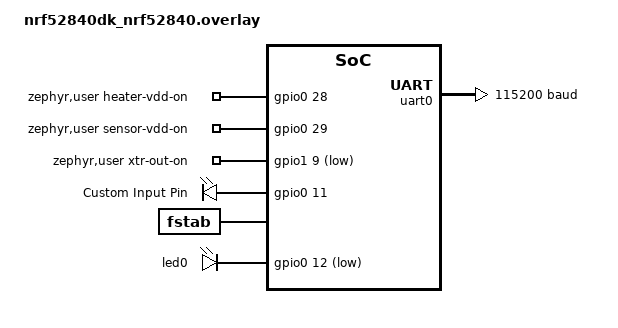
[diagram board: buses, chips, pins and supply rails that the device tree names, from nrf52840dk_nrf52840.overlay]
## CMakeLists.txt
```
# SPDX-License-Identifier: Apache-2.0

cmake_minimum_required(VERSION 3.20.0)
find_package(Zephyr REQUIRED HINTS $ENV{ZEPHYR_BASE})
project(TESTBD)

target_sources(app PRIVATE src/main.c src/ADC.c src/PC.c src/FIFO.c src/BT.c src/DAC.c src/BD_DEF.c src/fs_transfer.c)
```

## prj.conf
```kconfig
CONFIG_GPIO=y
CONFIG_I2C=y
CONFIG_SPI=y
CONFIG_SERIAL=y
CONFIG_UART_ASYNC_API=y
CONFIG_UART_NRFX=y

CONFIG_CBPRINTF_FP_SUPPORT=y

# ADD BLUETOOTH SUPPORT
CONFIG_BT=y
# CONFIG_BT_GATT_CLIENT=y
CONFIG_BT_PERIPHERAL=y
CONFIG_BT_DEVICE_NAME="HydroB/D"

CONFIG_BT_L2CAP_TX_MTU=247

CONFIG_BT_BUF_ACL_RX_SIZE=255
CONFIG_BT_BUF_ACL_TX_SIZE=251

# Enable using File System
CONFIG_FILE_SYSTEM=y
# Enable LittleFS for internal Flash File System
CONFIG_FILE_SYSTEM_LITTLEFS=y
# Enable FS in Flash memory
CONFIG_FS_LITTLEFS_FMP_DEV=y

# Enable Editing Flash area in code level
# Need to configure because we will use remain Flash space as FS
CONFIG_FLASH=y
CONFIG_FLASH_MAP=y

# !!ESSENTIAL!!
# Mounting LittleFS, requires large stack size (lots of function call, lots of local variables used while mounting little fs)
CONFIG_MAIN_STACK_SIZE=4096

#CONFIG_NEWLIB_LIBC_FLOAT_PRINTF=y

# --DUMMY--
#CONFIG_BOOTLOADER_MCUBOOT=n

CONFIG_CLOCK_CONTROL_NRF_K32SRC_RC=y
CONFIG_CLOCK_CONTROL_NRF_K32SRC_500PPM=y
#CONFIG_CLOCK_CONTROL_NRF_K32SRC_RC_CALIBRATION=y
#CONFIG_CLOCK_CONTROL_NRF_CALIBRATION_LF_ALWAYS_ON=y
```

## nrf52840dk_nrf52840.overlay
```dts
// To get started, press Ctrl+Space to bring up the completion menu and view the available nodes.

// You can also use the buttons in the sidebar to perform actions on nodes.
// Actions currently available include:

// * Enabling / disabling the node
// * Adding the bus to a bus
// * Removing the node
// * Connecting ADC channels

// For more help, browse the DeviceTree documentation at https://docs.zephyrproject.org/latest/guides/dts/index.html
// You can also visit the nRF DeviceTree extension documentation at https://docs.nordicsemi.com/bundle/nrf-connect-vscode/page/guides/ncs_configure_app.html#devicetree-support-in-the-extension
&led0 {
	gpios = <&gpio0 12 GPIO_ACTIVE_LOW>;
};

&led1 {
	status = "disabled";
};

&led2 {
	status = "disabled";
};

&led3 {
	status = "disabled";
};

&button0 {
	status = "disabled";
};

&button1 {
	status = "disabled";
};

&button2 {
	status = "disabled";
};

&button3 {
	status = "disabled";
};

&pwm0 {
	status = "disabled";
};

&uart0_default {
	group1 {
		psels = <NRF_PSEL(UART_RTS, 0, 5)>, <NRF_PSEL(UART_TX, 0, 7)>;
	};

	group2 {
		psels = <NRF_PSEL(UART_CTS, 0, 6)>, <NRF_PSEL(UART_RX, 0, 8)>;
	};
};

&i2c0_default {
	group1 {
		psels = <NRF_PSEL(TWIM_SCL, 0, 14)>, <NRF_PSEL(TWIM_SDA, 0, 13)>;
	};
};

&spi3 {
	cs-gpios = <&gpio0 0 GPIO_ACTIVE_LOW>;
};

&spi3_default {
	group1 {
		psels = <NRF_PSEL(SPIM_MISO, 1, 8)>, <NRF_PSEL(SPIM_MOSI, 0, 4)>,
			<NRF_PSEL(SPIM_SCK, 0, 1)>;
	};
};

/ {
	zephyr,user {
	    heater-vdd-on-gpios = <&gpio0 28 GPIO_ACTIVE_HIGH>;
            sensor-vdd-on-gpios = <&gpio0 29 GPIO_ACTIVE_HIGH>;
	    xtr-out-on-gpios = <&gpio1 9 GPIO_ACTIVE_LOW>;
        };

	my_inputs {
		compatible = "gpio-leds";
		my_input_pin: input_pin {
		gpios = <&gpio0 11 GPIO_ACTIVE_HIGH>;
		label = "Custom Input Pin";
		};
	};

	aliases {
		myinput = &my_input_pin;
	};

	fstab {
		compatible = "zephyr,fstab";

		lfs1: lfs1 {
			compatible = "zephyr,fstab,littlefs";
			mount-point = "/lfs1";
			partition = <&storage_partition>;
			// Enable automount cause system halt (mount fail)
			// maybe because in boot time, there is no file system.
			// so we should mount manually in source code
			automount;
			// read-size = <4>;
			// prog-size = <4>;
			// cache-size = <256>;
			// lookahead-size = <32>;
			// block-cycles = <512>;
			// sample uses settings below
			read-size = <16>;
			prog-size = <16>;
			cache-size = <64>;
			lookahead-size = <16>;
			block-cycles = <512>;
		};
	};
};

&uart0 {
	current-speed = <115200>;
};
```

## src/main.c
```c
/*
 * Copyright (c) 2016 Intel Corporation
 *
 * SPDX-License-Identifier: Apache-2.0
 */

#include <stdio.h>
#include <string.h>
#include <zephyr/kernel.h>
#include <zephyr/drivers/gpio.h>

#include <zephyr/device.h>
#include <zephyr/fs/fs.h>
#include <zephyr/fs/littlefs.h>
#include <zephyr/storage/flash_map.h>

#include "BD_DEF.h"
#include "ADC.h"
#include "DAC.h"
#include "PC.h"
#include "BT.h"
#include "COMMON_SEM.h"

/* 1000 msec = 1 sec */
#define SLEEP_TIME_MS   100

/* Devicetree node identifiers */
#define LED0_NODE DT_ALIAS(led0)

/* Use dt node and declare entry ∵ Using automount in device tree */
#define PARTITION_NODE DT_NODELABEL(lfs1)
FS_FSTAB_DECLARE_ENTRY(PARTITION_NODE);

// mode 0 = run mode (전원 인가 시 바로 동작)
// mode 1 = test mode (UART 값 수신 시 동작)
#define RUN_MODE 0

struct fs_mount_t *mountpoint = &FS_FSTAB_ENTRY(PARTITION_NODE);

/*
 * A build error on this line means your board is unsupported.
 * See the sample documentation for information on how to fix this.
 */

static const struct gpio_dt_spec led0 = GPIO_DT_SPEC_GET(LED0_NODE, gpios);

// buffer to receive data from ADC
uint8_t REC_DAT_TMP[3];
uint8_t GET_DAT_TMP[3];
uint8_t REC_REG_BUF_1[1];

// Buffer to send data to PC
uint8_t STRT_BUF[5] = {0x00, 0x00, 0x00, 0x00, 0xAA};
uint8_t SND_DAT_BUF[28];

K_MSGQ_DEFINE(adc_queue, sizeof(REC_DAT_TMP), 32, 4);

K_SEM_DEFINE(rec_semaphore, 0, 1);
K_SEM_DEFINE(fs_sem, 0, 1);

// Thread Resoures For ADC Test
K_SEM_DEFINE(adc_loop_semaphore, 0, 1);
K_THREAD_STACK_DEFINE(adc_loop_stack, 1024);
struct k_thread adc_loop_thread;

K_THREAD_STACK_DEFINE(adc_send_stack, 1024);
struct k_thread adc_send_thread;

// Thread Resources For Bluetooth Notify
K_SEM_DEFINE(bt_loop_semaphore, 0, 1);
K_THREAD_STACK_DEFINE(bt_loop_stack, 1024);
struct k_thread bt_loop_thread;

K_THREAD_STACK_DEFINE(bt_send_stack, 1024);
struct k_thread bt_send_thread;

char fs_info_send[4096];

int file_state = 0;
struct fs_file_t file;
int fx_pos = 0;
int fx_len = 0;

static void lsdir(const char *path)
{
	int res;
	struct fs_dir_t dirp;
	static struct fs_dirent entry;

	memset(fs_info_send, 0, sizeof(fs_info_send));

	fs_dir_t_init(&dirp);

	/* Verify fs_opendir() */
	res = fs_opendir(&dirp, path);
	if (res) {
		strcpy(fs_info_send, "ERROR OPENING DIR");
	}

	strcpy(fs_info_send, path);
	for (;;) {
		/* Verify fs_readdir() */
		res = fs_readdir(&dirp, &entry);

		/* entry.name[0] == 0 means end-of-dir */
		if (res || entry.name[0] == 0) {
			if (res < 0) {
				strcpy(fs_info_send, "ERROR READING DIR");
			}
			break;
		}

		char tmp[128];
		if (entry.type == FS_DIR_ENTRY_DIR) {
			
			snprintf(tmp, sizeof(tmp), "\n[DIR] %s", entry.name);
			strcat(fs_info_send, tmp);
		} else {
			snprintf(tmp, sizeof(tmp), "\n[FILE] %s (size = %zu)", entry.name, entry.size);
			strcat(fs_info_send, tmp);
		}
	}

	strcat(fs_info_send, "\nType \"add\", \"mod\", \"del\", \"ext\", \"ls\", \"seek\" And Press Enter");

	/* Verify fs_closedir() */
	fs_closedir(&dirp);
}

void create_file(char *fname) {
	struct fs_file_t f;
	int rc, ret;

	memset(fs_info_send, 0, sizeof(fs_info_send));

	fs_file_t_init(&f);

	rc = fs_open(&f, fname, FS_O_CREATE | FS_O_RDWR);
	if (rc < 0) {
		snprintf(fs_info_send, sizeof(fs_info_send), "FAIL to open file %s: %d\n", fname, rc);
	}

	snprintf(fs_info_send, sizeof(fs_info_send), "file opened %s\n", fname);

	fs_close(&f);
}

int open_file(struct fs_file_t *f, char* fname) {
	int rc;

	memset(fs_info_send, 0, sizeof(fs_info_send));

	fs_file_t_init(f);

	rc = fs_open(f, fname, FS_O_RDWR);
	if (rc < 0) {
		snprintf(fs_info_send, sizeof(fs_info_send), "FAIL to open file %s: %d\n", fname, rc);
		return rc;
	}

	snprintf(fs_info_send, sizeof(fs_info_send), "opened file %s, enter new data or file name to copy:\n", fname);
	return rc;
}

void write_and_close_file(struct fs_file_t *f, char* data) {
	int rc;
	size_t len = strlen(data);

	memset(fs_info_send, 0, sizeof(fs_info_send));

	rc = fs_seek(f, 0, FS_SEEK_SET);
	if (rc < 0) {
		snprintf(fs_info_send, sizeof(fs_info_send), "FAIL to seek: %d\n", rc);
		rc = fs_close(f);
		return;
	}

	rc = fs_write(f, data, strlen(data));
	if (rc < 0) {
		snprintf(fs_info_send, sizeof(fs_info_send), "FAIL to write to file: %d\n", rc);
		rc = fs_close(f);
		return;
	}
	snprintf(fs_info_send, sizeof(fs_info_send), "%d bytes successfully write to the file\n", rc);

	rc = fs_truncate(f, (off_t)len);
    if (rc < 0) {
        snprintf(fs_info_send, sizeof(fs_info_send), "FAIL to truncate: %d\n", rc);
		rc = fs_close(f);
		return;
    }

    fs_close(f);
}

void seek_file(char* fname) {
	struct fs_file_t f;
	int rc;

	fs_file_t_init(&f);

	memset(fs_info_send, 0, sizeof(fs_info_send));

	rc = fs_open(&f, fname, FS_O_READ);
	if (rc < 0) {
		snprintf(fs_info_send, sizeof(fs_info_send), "FAIL to open file %s: %d\n", fname, rc);
	}

	rc = fs_read(&f, &fs_info_send, sizeof(fs_info_send));
	if (rc < 0) {
		snprintf(fs_info_send, sizeof(fs_info_send), "FAIL to read file %s: %d\n", fname, rc);
	}

    fs_close(&f);
}

void delete_file(char* fname) {
	int rc;

	memset(fs_info_send, 0, sizeof(fs_info_send));

	rc = fs_unlink(fname);

	if (rc < 0) {
		snprintf(fs_info_send, sizeof(fs_info_send), "FAIL to delete file %s: %d\n", fname, rc);
	}

	snprintf(fs_info_send, sizeof(fs_info_send), "file deleted %s\n", fname);

	return 0;
}

static void init_file_create(void)
{
    struct fs_file_t f;
    char path[128];
    char buf[64];

	// min_max
    snprintf(path, sizeof(path), "%s/min_max", mountpoint->mnt_point);
	snprintf(buf, sizeof(buf), "0 8388608");

    fs_file_t_init(&f);

    if (fs_open(&f, path, FS_O_READ) < 0) {
		create_file(path);
		open_file(&f, path);
		write_and_close_file(&f, buf);
    }

	fs_close(&f);

	// table
	snprintf(path, sizeof(path), "%s/table", mountpoint->mnt_point);
	snprintf(buf, sizeof(buf), "1 1 2 2 3 3 4 4 5 5 6 6 7 7 8 8 9 9 10 10");

    fs_file_t_init(&f);

    if (fs_open(&f, path, FS_O_READ) < 0) {
		create_file(path);
		open_file(&f, path);
		write_and_close_file(&f, buf);
    }

	fs_close(&f);
}

static void load_min_max_calib(void)
{
    struct fs_file_t f;
    char path[128];
    char buf[64];
    char extra;
    int new_min;
    int new_max;

    snprintf(path, sizeof(path), "%s/min_max",
             mountpoint->mnt_point);

    fs_file_t_init(&f);

    if (fs_open(&f, path, FS_O_READ) < 0) {
        return;
    }

    ssize_t len = fs_read(&f, buf, sizeof(buf) - 1);
    fs_close(&f);

    if (len <= 0 || len >= (ssize_t)(sizeof(buf) - 1)) {
        return;
    }

    buf[len] = '\0';

    if (sscanf(buf, "%d %d %c",
               &new_min, &new_max, &extra) != 2) {
        return;
    }

    if (new_max <= new_min) {
        return;
    }

    k_sched_lock();
    min_calib = new_min;
    max_calib = new_max;
    k_sched_unlock();
}

// reset pin and initialize bluetooth
int init_set() {
	int ret;

	if (!gpio_is_ready_dt(&led0)) return 0; 

	ret = gpio_pin_configure_dt(&led0, GPIO_OUTPUT_ACTIVE);
	if (ret < 0) return 0;

	// Bluetooth Initialization
	ret = hydro_bt_enable();
	if (ret < 0) {
		printf("Failed to Enable Bluetooth\n");
		return 0;
	}

	// GATT Callbacks Enable
	enable_gatt_callbacks();

	// BlueTooth Advertising Start
	ret = hydro_adv_start();
	if (ret < 0) {
		printf("Failed to Start Advertising\n");
		return 0;
	}
}

int adc_loop_thread_entry() {
	while(1) {
		if (k_sem_take(&adc_loop_semaphore, K_FOREVER) == 0 && adc_flag == 1) {
			int ret;
			ret = adc_write((uint8_t[]){ CMD_START }, 1);
			if (ret != 0) continue;

			while(adc_flag == 1){
				//adc_test(); // to print debug message
				adc_read_value();
			}
			
			ret = adc_write((uint8_t[]){ CMD_PW_DONW }, 1);
			if (ret != 0) continue;
		}
	}
}

int adc_send_thread_entry() {
	while(1) {
		adc_send_value();
	}
}

int bt_send_thread_entry() {
	while(1) {
		hydro_notify_data();

		k_msleep(100);
	}
}

int check_filter(int32_t dc) {
	int ret;
	int32_t last_filtered = dc;
	uint8_t inserted = 0;
	uint32_t size = 10;

	if (saf_stat) {
        last_filtered = SAF(last_filtered, saf_stat);

		if (last_filtered == 0) return 0;
    }

	unsigned char byteArray[6+sizeof(int32_t)*3];
	memcpy(byteArray, GET_DAT_TMP, 3);
	inserted += 3;

	if (saf_stat) {
		byteArray[inserted] = FILTER0;
		memcpy(byteArray + inserted + 1, &last_filtered, sizeof(int32_t));
		inserted += 5;
    }

	if (lpf_stat) {
        last_filtered = LPF(last_filtered);

		byteArray[inserted] = FILTER1;
		memcpy(byteArray + inserted + 1, &last_filtered, sizeof(int32_t));
		inserted += 5;
    }

    if (maf_stat) {
		last_filtered = MAF(last_filtered);

		byteArray[inserted] = FILTER2;
		memcpy(byteArray + inserted + 1, &last_filtered, sizeof(int32_t));
		inserted += 5;
    }
	size += inserted;

	uint32_t dac_code = conv_16bit_count(last_filtered);
	uint8_t tx_data[3];
	tx_data[0] = 0x00;
	tx_data[1] = (dac_code >> 8) & 0xFF;
	tx_data[2] = dac_code & 0xFF;

	dac_write(tx_data);

	if (edit_calib) {
		return 0;
	}

	ret = filter_adjust(SND_DAT_BUF, size, byteArray);
	return ret;
}

void adc_read_value() {
	int ret;
	int cnt = 0;

	//int sleep_time = 1000 / data_rate;
	//k_msleep(sleep_time);

	do {
		cnt++;
		adc_read_reg(CONF2_REG);
		adc_receive(REC_REG_BUF_1, sizeof(REC_REG_BUF_1));

		if (cnt == ADC_TIMEOUT) return;

		if (!(REC_REG_BUF_1[0] & 0x80)) {
            k_yield(); 
        }
	} while (!(REC_REG_BUF_1[0] & 0x80));

	//ret = adc_read_write(REC_DAT_BUF, sizeof(REC_DAT_BUF), (uint8_t[]){ CMD_RDATA }, 1);
	//if (ret != 0) return;

	ret = adc_write((uint8_t[]){ CMD_RDATA }, 1);
	if (ret != 0) return;
	ret = adc_receive(REC_DAT_TMP, sizeof(REC_DAT_TMP));
	if (ret != 0) return;

	if (k_msgq_put(&adc_queue, REC_DAT_TMP, K_NO_WAIT) != 0) {}
}

void adc_send_value() {
	int ret;

	if (k_msgq_get(&adc_queue, GET_DAT_TMP, K_FOREVER) != 0) {}
	else {
		get_digital_count(GET_DAT_TMP);

		ret = check_filter(digital_count);
		if (ret != 0) return;
	}

	gpio_pin_toggle_dt(&led0);
}

int main(void)
{
	// PROGRAM START NOTICE
	init_set();
	init_file_create();
	load_min_max_calib();
	
	printf("HFCLKSTAT = 0x%08x\n", NRF_CLOCK->HFCLKSTAT);
    printf("LFCLKSTAT = 0x%08x\n", NRF_CLOCK->LFCLKSTAT);

	k_thread_create(&adc_loop_thread, adc_loop_stack, K_THREAD_STACK_SIZEOF(adc_loop_stack),
	adc_loop_thread_entry, NULL, NULL, NULL, 5, 0, K_NO_WAIT);

	k_thread_create(&adc_send_thread, adc_send_stack, K_THREAD_STACK_SIZEOF(adc_send_stack),
	adc_send_thread_entry, NULL, NULL, NULL, 5, 0, K_NO_WAIT);

	// k_thread_create(&bt_send_thread, bt_send_stack, K_THREAD_STACK_SIZEOF(bt_send_stack),
	// bt_send_thread_entry, NULL, NULL, NULL, 5, 0, K_NO_WAIT);

	callback_set_pc_uart();
	rx_enable_pc_uart();

	//uart_send_pc(STRT_BUF, sizeof(STRT_BUF));

	bd_init();
	if (bd_init() != 0) {
		return 0;
	}
	for(int i = 0; i <= 3; i++) {
		gpio_pin_toggle_dt(&led0);
		k_msleep(200);
		gpio_pin_set_dt(&led0, 0);
	}

	// adc_reset
	adc_write((uint8_t[]){ CMD_RESET }, 1);

	if (RUN_MODE == 0) {
		adc_flag = 1;

		conf0_set = 0x54;
        conf1_set = 0xA8;

		check_filter_cmd(0xAA);
		check_filter_cmd(0xFA);
		check_filter_cmd(0x4A);

		adc_write_conf0(conf0_set);
		adc_write_conf1(conf1_set);
	}

	k_msleep(5);

	while (1) {
		// TEST DAC
		// dac_write();
		// read_xtr_err();
		if (edit_calib) {
			if (!file_state) {
				k_msgq_purge(&adc_queue);
				uart_send_pc("EDITOR READY\n", strlen("EDITOR READY\n"));

				lsdir(mountpoint->mnt_point);
				uart_send_pc(fs_info_send, strlen(fs_info_send));
				gpio_pin_toggle_dt(&led0);
				file_state++;
			}

			if (k_sem_take(&fs_sem, K_FOREVER) == 0) {
				if (file_state == 1)
				{
					if (FS_REC_BUF[0] == 'a' && FS_REC_BUF[1] == 'd' && FS_REC_BUF[2] == 'd') {
						memset(FS_REC_BUF, 0, sizeof(FS_REC_BUF));
						char *msg = "Enter New File Name:";
						uart_send_pc(msg, strlen(msg));
						file_state = 2;

						continue;
					}

					if (FS_REC_BUF[0] == 'm' && FS_REC_BUF[1] == 'o' && FS_REC_BUF[2] == 'd') {
						memset(FS_REC_BUF, 0, sizeof(FS_REC_BUF));
						char *msg = "Name of file to modify:";
						uart_send_pc(msg, strlen(msg));
						file_state = 3;

						continue;
					}

					if (FS_REC_BUF[0] == 'd' && FS_REC_BUF[1] == 'e' && FS_REC_BUF[2] == 'l') {
						memset(FS_REC_BUF, 0, sizeof(FS_REC_BUF));
						char *msg = "Name of file to delete:";
						uart_send_pc(msg, strlen(msg));
						file_state = 4;

						continue;
					}

					if (FS_REC_BUF[0] == 'e' && FS_REC_BUF[1] == 'x' && FS_REC_BUF[2] == 't') {
						load_min_max_calib();

						memset(FS_REC_BUF, 0, sizeof(FS_REC_BUF));
						file_state = 0;
						edit_calib = false;
						gpio_pin_toggle_dt(&led0);

						continue;
					}

					if (FS_REC_BUF[0] == 'l' && FS_REC_BUF[1] == 's') {
						memset(FS_REC_BUF, 0, sizeof(FS_REC_BUF));
						lsdir(mountpoint->mnt_point);
						uart_send_pc(fs_info_send, strlen(fs_info_send));

						continue;
					}

					if (FS_REC_BUF[0] == 's' && FS_REC_BUF[1] == 'e' && FS_REC_BUF[2] == 'e' && FS_REC_BUF[3] == 'k') {
						memset(FS_REC_BUF, 0, sizeof(FS_REC_BUF));
						char *msg = "Name of file to seek:";
						uart_send_pc(msg, strlen(msg));
						file_state = 6;

						continue;
					}
					memset(FS_REC_BUF, 0, sizeof(FS_REC_BUF));
					char *msg = "Unkown Command\n";
					uart_send_pc(msg, strlen(msg));
					file_state = 1;
					continue;
				}
				
				// Create File (open file)
				if (file_state == 2) {
					char tmp[64];

					snprintf(tmp, sizeof(tmp), "%s//%s", mountpoint->mnt_point, FS_REC_BUF);

					create_file(tmp);
					uart_send_pc(fs_info_send, strlen(fs_info_send));

					memset(FS_REC_BUF, 0, sizeof(FS_REC_BUF));
					file_state = 1;
				}

				// Modify file 1: open file
				if (file_state == 3) {
					char tmp[64];

					snprintf(tmp, sizeof(tmp), "%s//%s", mountpoint->mnt_point, FS_REC_BUF);

					if (open_file(&file ,tmp) < 0) {
						memset(FS_REC_BUF, 0, sizeof(FS_REC_BUF));
						uart_send_pc(fs_info_send, strlen(fs_info_send));
						file_state = 1;
						continue;
					}

					uart_send_pc(fs_info_send, strlen(fs_info_send));
					
					memset(FS_REC_BUF, 0, sizeof(FS_REC_BUF));
					fx_pos = 0;
					fx_len = 0;
					file_state = 5;

					continue;
				}

				// Modify file 2: write new data
				if (file_state == 5) {
					if (fx_len == 0) {
						continue;
					}
					
					if (fx_pos >= fx_len) {
						file_state = 1;
						uart_send_pc(fs_info_send, strlen(fs_info_send));
					}

					write_and_close_file(&file, FS_REC_BUF);
					uint8_t msg[32];
					snprintf(msg, sizeof(msg), "ACK_%db\n", strlen(FS_REC_BUF));
                    uart_send_pc(msg, strlen(msg));

					memset(FS_REC_BUF, 0, sizeof(FS_REC_BUF));
				}

				if (file_state == 6) {
					char tmp[64];

					snprintf(tmp, sizeof(tmp), "%s//%s", mountpoint->mnt_point, FS_REC_BUF);

					seek_file(tmp);
					uart_send_pc(fs_info_send, strlen(fs_info_send));

					memset(FS_REC_BUF, 0, sizeof(FS_REC_BUF));
					file_state = 1;
				}

				// Delete File
				if (file_state == 4) {
					char tmp[64];

					snprintf(tmp, sizeof(tmp), "%s//%s", mountpoint->mnt_point, FS_REC_BUF);

					delete_file(tmp);
					uart_send_pc(fs_info_send, strlen(fs_info_send));
					file_state = 1;
				}
			}
			/* open /lfs1/calib.bin and send to pc */
			continue;
		}

		if (RUN_MODE == 0) {
			k_sem_give(&adc_loop_semaphore);
		}

		if (k_sem_take(&rec_semaphore, K_FOREVER) == 0) {
			process_cmd(now_command, &adc_loop_semaphore);
			
			adc_write_conf0(conf0_set);
			adc_write_conf1(conf1_set);
		}
		// now_command = 0;
		// memset(REC_CMD_BUF, 0, sizeof(REC_CMD_BUF));
	}
}
```

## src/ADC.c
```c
#include <stdio.h>
#include "ADC.h"
#include <zephyr/drivers/i2c.h>

uint8_t WRITE_CONF0[2];
uint8_t WRITE_CONF1[2];
uint32_t data_rate;
uint8_t pga_gain;
int32_t digital_count;

static const struct device *i2c = DEVICE_DT_GET(I2C_NODE);

// Write to adc
int adc_write(const uint8_t *write_buff, uint32_t size){
    int ret;
	ret = i2c_write(i2c, write_buff, size, SLAVE_ADDR);

	if (ret != 0) {
        //printf("Failed to write to I2C device! (err %d)\n", ret);
    }
	
    /*
	else {
        //printf("Send: ");
        //for (int i = 0; i < size; i++){
        //    printf("0x%02X ", write_buff[i]);
        //}
        //printf("to slave 0x%02X\n", SLAVE_ADDR);
    }
    */
    return ret;
}

// Read from adc
int adc_receive(uint8_t *receive_buff, uint32_t size) {
	int ret;
	ret = i2c_read(i2c, receive_buff, size, SLAVE_ADDR);
	
	if (ret != 0) {
        //printf("Failed to write to I2C device! (err %d)\n", ret);
    }
	/*
	else {
		//printf("Received: ");
		//for (int i = 0; i < size; i++){
        //    printf("0x%02X ", receive_buff[i]);
        //}
        //printf("to slave 0x%02X\n", SLAVE_ADDR);
    }
    */
    return ret;
}

// Read & Write Function Integrated
int adc_read_write(uint8_t *receive_buff, uint32_t size_r, const uint8_t *write_buff, uint32_t size_w) {
    int ret;
	ret = i2c_write_read(i2c, SLAVE_ADDR, write_buff, size_w, receive_buff, size_r);

    return ret;
}

// Set Configuration Register
// CONF0 DEFAULT :: mux = 0011 : AINP = AIN1, AINN = AIN0, gain = 000 : gain = 1, pga_en = 0 : PGA enabled (default)
void adc_write_conf0(uint8_t setting) {
    uint8_t gain = 0x07 & (setting >> 1) ;

    pga_gain = gain;     // save pga_gain value for voltage calculation
    WRITE_CONF0[0] = CMD_WREG | (CONF0_REG << 2);
    WRITE_CONF0[1] = setting;

    adc_write(WRITE_CONF0, sizeof(WRITE_CONF0));
}

void adc_write_conf1(uint8_t setting) {
    uint8_t dr = setting >> 5;

    data_rate = get_data_rate(dr);  // save data_rate to wait for drdy :: k_msleep(1000 / data_rate)
    WRITE_CONF1[0] = CMD_WREG | (CONF1_REG << 2);
    WRITE_CONF1[1] = setting;

    adc_write(WRITE_CONF1, sizeof(WRITE_CONF1));
}

// read byte from adc
void adc_read_reg(uint8_t addr) {
    switch (addr)
    {
    case CONF0_REG:
        addr = CMD_RREG | (CONF0_REG << 2);
        break;
    case CONF1_REG:
        addr = CMD_RREG | (CONF1_REG << 2);
        break;
    case CONF2_REG:
        addr = CMD_RREG | (CONF2_REG << 2);
        break;
    case CONF3_REG:
        addr = CMD_RREG | (CONF3_REG << 2);
        break;
    default:
        break;
    }

    adc_write((uint8_t[]){ addr }, 1);
}

uint16_t dac_calculate_count(double percent){
    //double Vdac = 0.2752 + (percent / 100.0) * (1.376 - 0.2752);
    double Vdac = 0.555 + (percent / 100.0) * (2.75 - 0.555);
    double code_f = (Vdac / 3.3) * 65535.0;

    uint16_t DAC_code;

    if (code_f < 0) DAC_code = 0;
    else if (code_f > 65535) DAC_code = 65535;
    else DAC_code = (uint16_t)(code_f + 0.5);
    
    printf("code_f: %f, DAC_code: %d\n",code_f, DAC_code);

    return DAC_code;
}

void dac_write_conf() {
    int ret;
    uint8_t write_buff[3];
    write_buff[0] = 0x40;
    write_buff[1] = 0x00;
    write_buff[2] = 0x00;

    ret = i2c_write(i2c, write_buff, 3, DAC_SLAVE_ADDR);
}

void dac_write_count(uint16_t count) {
    int ret;
    uint8_t write_buff[3];
    write_buff[0] = 0x30;
    write_buff[1] = (uint8_t)(count >> 8);
    write_buff[2] = (uint8_t)(count << 8) >> 8;

    ret = i2c_write(i2c, write_buff, 3, DAC_SLAVE_ADDR);
}

//void dac_read_count(){
//    int ret;
//    ret = i2c_read(i2c, receive_buff, size, SLAVE_ADDR);
//}

// based on normal mode (do not use turbo mode)
int32_t get_data_rate(uint8_t dara_rate_byte) {
    switch (dara_rate_byte)
    {
    case 0x00:
        return 20;
        break;
    case 0x01:
        return 45;
        break;
    case 0x02:
        return 90;
        break;
    case 0x03:
        return 175;
        break;
    case 0x04:
        return 330;
        break;
    case 0x05:
        return 600;
        break;
    case 0x06:
        return 1000;
        break;
    default:
        break;
    }
}

// Get Digital Count Value From Received Bytes
void get_digital_count(const uint8_t *received_buff) {
    int32_t dc;
	dc = (received_buff[0] << 16) |
	     (received_buff[1] << 8)  |
	      received_buff[2];           // Merge All Received Values Into One
	dc = dc << 8;                     //        arithmatic shift
	dc = dc >> 8;                     //   (change into signed decimal)
    digital_count = dc;
}

// Calculate Actual Voltage Value
double get_actual_voltage(int32_t dc) {
	double v_in;

    uint8_t square = pga_gain;
    int gain = pow(2.0, square);

	v_in = (2 * 2.048f / gain) / pow(2.0, 24.0);     // LSB Amount (Voltage Per Bit)
	v_in *= dc;                                      // Multiply LSB with DC Value Returns Voltage In Value
    return v_in;
}
```

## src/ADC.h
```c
#ifndef ADC_H
#define ADC_H

// BASIC ADDRESSES & COMMANDS & VALUES
#define SLAVE_ADDR      0x41 // If ADS122C04's A0 / A1 = VDD / GND, then SLAVE_ADDR = 0x41 | A0 / A1 = SCL, then SLAVE_ADDR = 0x4F
#define DAC_SLAVE_ADDR  0x4C

#define CONF0_REG    0x00       // Configuration0 Register Address
#define CONF1_REG    0x01       // Configuration1 Register Address
#define CONF2_REG    0X02       // Configuration2 Register Address
#define CONF3_REG    0x03       // Configuration3 Register Address

#define CMD_RDATA    0x01 << 4  // 0001 xxxx
#define CMD_RREG     0x02 << 4  // 0010 rrxx (use or op with REG address)
#define CMD_WREG     0x04 << 4  // 0100 rrxx dddd dddd (use or op with REG address)
#define CMD_START    0x04 << 1  // 0000 100x
#define CMD_RESET    0x03 << 1  // 0000 011x
#define CMD_PW_DONW  0x01 << 1  // 0000 001x

#define ADC_TIMEOUT 100

// I2C NODE
#define I2C_NODE DT_NODELABEL(arduino_i2c)

// CONFIGURATION REGISTER SETTINGS
// AINp = AIN1 | AINn = AIN0 | GAIN = 1 ~ 128 | PGA = 0 (default)
// To Enable External AMP: Bypass PGA and get AINp from AIN2 (AVSS will be GND)
extern uint8_t WRITE_CONF0[2];
// (default)
extern uint8_t WRITE_CONF1[2];
// (default)
extern uint8_t WRITE_CONF2[2];
// (default)
extern uint8_t WRITE_CONF3[2];

// EDITABLE VARIABLES
extern uint8_t pga_gain; // square value of gain (real gain = 2^pga_gain)
extern uint32_t data_rate; // data rate of reading adc (20 ~ 2000)
extern int32_t digital_count;

// FUNCTION DEFINE
extern int adc_write(const uint8_t *write_buff, uint32_t size);
extern int adc_receive(uint8_t *receive_buff, uint32_t size);
extern int adc_read_write(uint8_t *receive_buff, uint32_t size_r, const uint8_t *write_buff, uint32_t size_w);
extern void adc_write_conf0(uint8_t setting);
extern void adc_write_conf1(uint8_t setting);
extern void adc_read_reg(uint8_t addr);
extern int32_t get_data_rate(uint8_t dara_rate_byte);
extern void get_digital_count(const uint8_t *received_buff);
extern double get_actual_voltage(int32_t dc);
#endif
```

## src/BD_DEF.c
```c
#include "BD_DEF.h"

int bd_init() {
    int ret;
    ret = sensor_power_on();

    ret = xtr_out();

    ret = heater_pw_on();

    init_xtr_err();

    return ret;
}

int sensor_power_on() {
    int ret;

    ret = gpio_is_ready_dt(&sensor_vdd_on); 
    if (!ret) return -1;

    ret = gpio_pin_configure_dt(&sensor_vdd_on, GPIO_OUTPUT_INACTIVE);
    if (ret != 0) return ret;

    ret = gpio_pin_set_dt(&sensor_vdd_on, 1);
    if (ret != 0) return ret;

    return ret;
}

int heater_pw_on() {
    int ret;

    ret = gpio_is_ready_dt(&heater_vdd_on); 
    if (!ret) return -1;

    ret = gpio_pin_configure_dt(&heater_vdd_on, GPIO_OUTPUT_INACTIVE);
    if (ret != 0) return ret;

    ret = gpio_pin_set_dt(&heater_vdd_on, 1);
    if (ret != 0) return ret;

    return ret;
}

int xtr_out() {
    int ret;

    ret = gpio_is_ready_dt(&xtr_out_on); 
    if (!ret) return -1;

    ret = gpio_pin_configure_dt(&xtr_out_on, GPIO_OUTPUT_INACTIVE);
    if (ret != 0) return ret;

    ret = gpio_pin_set_dt(&xtr_out_on, 1);
    if (ret != 0) return ret;

    return ret;
}

void init_xtr_err(void)
{
    if (!gpio_is_ready_dt(&xtr_err)) {
        printf("Error: GPIO device not ready\n");
        return;
    }

    int ret = gpio_pin_configure_dt(&xtr_err, GPIO_INPUT);
    if (ret < 0) {
        printf("Error: Failed to configure pin as input\n");
        return;
    }
}

void read_xtr_err(void) {
    int val = gpio_pin_get_dt(&xtr_err);
    if (val < 0) {
        printf("Error: Failed to read pin state\n");
        return;
    }

    if (val == 0) printf("XTR ERROR OCCURED GPIO PIN STATE LOW\n", val);
}
```

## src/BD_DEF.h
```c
#ifndef BD_DEF_H
#define BD_DEF_H

#include <zephyr/kernel.h>
#include <zephyr/drivers/gpio.h>

#define ZEPHYR_USER_NODE DT_PATH(zephyr_user)
#define XTR_ERR_NODE DT_ALIAS(myinput)

static const struct gpio_dt_spec sensor_vdd_on =
    GPIO_DT_SPEC_GET(ZEPHYR_USER_NODE, sensor_vdd_on_gpios);

static const struct gpio_dt_spec heater_vdd_on =
    GPIO_DT_SPEC_GET(ZEPHYR_USER_NODE, heater_vdd_on_gpios);

static const struct gpio_dt_spec xtr_out_on =
    GPIO_DT_SPEC_GET(ZEPHYR_USER_NODE, xtr_out_on_gpios);

static const struct gpio_dt_spec xtr_err =
    GPIO_DT_SPEC_GET(XTR_ERR_NODE, gpios);

#endif // BD_DEF_H
```

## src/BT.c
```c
#include <zephyr/bluetooth/bluetooth.h>
#include <zephyr/bluetooth/uuid.h>
#include <zephyr/bluetooth/hci.h>
#include <zephyr/bluetooth/conn.h>
#include <zephyr/bluetooth/gatt.h>

#include "BT.h"
#include "PC.h"
#include "COMMON_SEM.h"

struct bt_conn *conn_connected;
volatile bool is_notify_enabled = false;

// advertising data ad & sd
static const struct bt_data ad[] = {
    BT_DATA_BYTES(BT_DATA_FLAGS, (BT_LE_AD_GENERAL | BT_LE_AD_NO_BREDR)),
    BT_DATA(BT_DATA_NAME_COMPLETE, DEVICE_NAME, DEVICE_NAME_LEN),
};
static const struct bt_data sd[] = {
    BT_DATA_BYTES(BT_DATA_UUID128_ALL, BT_UUID_HYDRO_VAL),
};

// Custom Service UUID
static const struct bt_uuid_128 hydro_service_uuid = BT_UUID_INIT_128(
    BT_UUID_HYDRO_VAL
);
static const struct bt_uuid_128 hydro_data_uuid = BT_UUID_INIT_128(
    BT_UUID_HYDRO_DATA_VAL
);

static void hydro_ccc_cfg_changed(const struct bt_gatt_attr *attr, uint16_t value) {
    is_notify_enabled = (value == BT_GATT_CCC_NOTIFY);
    printf("Notification %s", is_notify_enabled ? "enabled" : "disabled");
}

ssize_t receive_callback(struct bt_conn *conn, const struct bt_gatt_attr *attr,
    const void *buf, uint16_t len, uint16_t offset, uint8_t flags)
{
    if (offset != 0) return BT_GATT_ERR(BT_ATT_ERR_INVALID_OFFSET);
    if (len >= 10) {
        uint16_t cmd = read_cmd(buf, len);
        now_command = cmd;

        if (cmd != 0) {
            k_sem_give(&rec_semaphore);
        }
    }
    
    return len;
}

// Setting up GATT Characteristic and Service
BT_GATT_SERVICE_DEFINE(hydro_svc,
BT_GATT_PRIMARY_SERVICE(&hydro_service_uuid),
BT_GATT_CHARACTERISTIC(&hydro_data_uuid.uuid,
                        BT_GATT_CHRC_NOTIFY | BT_GATT_CHRC_WRITE,
                        BT_GATT_PERM_READ | BT_GATT_PERM_WRITE,
                        NULL,
                        receive_callback,
                        NULL),
BT_GATT_CCC(hydro_ccc_cfg_changed, BT_GATT_PERM_READ | BT_GATT_PERM_WRITE),
);

static void connected(struct bt_conn *conn, uint8_t conn_err) {
    struct bt_conn_info conn_info;	
	char addr[BT_ADDR_LE_STR_LEN];
	int err;

    bt_addr_le_to_str(bt_conn_get_dst(conn), addr, sizeof(addr));

    if (conn_err) {
		printf("Connection failed, err 0x%02x %s\n", err, bt_hci_err_to_str(err));
		return;
	}

    err = bt_conn_get_info(conn, &conn_info);
	if (err) {
		printk("Failed to get connection info (%d).\n", err);
		return;
	}

    printk("CONNECTED: %s role %u\n", addr, conn_info.role);

    conn_connected = bt_conn_ref(conn);
}

static void disconnected(struct bt_conn *conn, uint8_t reason) {
    struct bt_conn_info conn_info;	
	char addr[BT_ADDR_LE_STR_LEN];
	int err;

    bt_addr_le_to_str(bt_conn_get_dst(conn), addr, sizeof(addr));

    err = bt_conn_get_info(conn, &conn_info);
	if (err) {
		printk("Failed to get connection info (%d).\n", err);
		return;
	}

    if (conn_connected) {
        printk("%s: %s role %u, reason %u %s\n", __func__, addr, conn_info.role,
            reason, bt_hci_err_to_str(reason));

        conn_connected = NULL;
        bt_conn_unref(conn);

        hydro_adv_start();
    }
}

BT_CONN_CB_DEFINE(conn_callbacks) = {
        .connected = connected,
        .disconnected = disconnected,
        // **can add le parameter update functions here**
    };

// bt_gatt_notify from gatt.h line 1327
// bt_gatt_notify_cb from gatt.c line 2879
// bt_gatt_indicate from gatt.c line 3104
int notify_data(struct bt_conn* conn, uint8_t input_data[], uint16_t data_len) {
    // static uint8_t data[BT_ATT_MAX_ATTRIBUTE_LEN] = {0, };
	// static uint16_t data_len;
	uint16_t data_len_max;
	int err;

    data_len_max = bt_gatt_get_mtu(conn) - 3;
    if (data_len_max > BT_ATT_MAX_ATTRIBUTE_LEN) {
		data_len_max = BT_ATT_MAX_ATTRIBUTE_LEN;
	}

    if (data_len > data_len_max) data_len = data_len_max;

    err = bt_gatt_notify(conn, &hydro_svc.attrs[2], input_data, data_len);
    if (err) {
        printf("Notify failed (err %d)\n", err);
    } else {
        // printk("Notify sent (%u bytes)\n", data_len); // 너무 빠르면 로그 끄기
    }

    return err;
}

static void mtu_updated(struct bt_conn *conn, uint16_t tx, uint16_t rx) {
    printk("MTU updated: TX %u RX %u\n", tx, rx);
}

static struct bt_gatt_cb gatt_callbacks = {
	.att_mtu_updated = mtu_updated
};

int hydro_adv_start() {
    return bt_le_adv_start(BT_LE_ADV_CONN, ad, ARRAY_SIZE(ad),
	              sd, ARRAY_SIZE(sd));
}

int hydro_bt_enable() {
    return bt_enable(NULL);
}

void enable_gatt_callbacks() {
    bt_gatt_cb_register(&gatt_callbacks);
}

int hydro_notify_data(uint8_t ipnut_data[], uint16_t data_len) {
    if (conn_connected == NULL) {
        return -ENOTCONN;
    }
    else if (!is_notify_enabled) {
        return -EACCES;
    }
    else {
        return notify_data(conn_connected, ipnut_data, data_len);
    }
}
```

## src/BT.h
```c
#ifndef BT_H
#define BT_H

#define DEVICE_NAME CONFIG_BT_DEVICE_NAME
#define DEVICE_NAME_LEN (sizeof(DEVICE_NAME) - 1)

// custom uuid: 7f2fa2dc-2871-4e9e-9328-00372d10e04f (created via https://www.uuidgenerator.net/version4)
#define BT_UUID_HYDRO_VAL \
	BT_UUID_128_ENCODE(0x7f2fa2dc, 0x2871, 0x4e9e, 0x9328, 0x00372d10e04f)

// custom uuid: a594f566-4481-4297-b817-9b58025116ef (created via https://www.uuidgenerator.net/version4)
#define BT_UUID_HYDRO_DATA_VAL \
	BT_UUID_128_ENCODE(0xa594f566, 0x4481, 0x4297, 0xb817, 0x9b58025116ef)

#endif
```

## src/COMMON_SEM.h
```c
#ifndef COMMON_SEM_H
#define COMMON_SEM_H

#include <zephyr/kernel.h>

extern struct k_sem rec_semaphore;
extern struct k_sem fs_sem;

#endif
```

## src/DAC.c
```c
#include "DAC.h"
#include <zephyr/drivers/spi.h>

static const struct device *spi = DEVICE_DT_GET(SPI_NODE);

int min_calib = 0;
int max_calib = 8388608;

struct spi_config spi_cfg = {
    .frequency = SPI_CLOCK_SLOW,
    .operation = SPI_OP_MODE_MASTER
                | SPI_MODE_CPHA
                | SPI_TRANSFER_MSB
                | SPI_WORD_SET(8),
    .slave = 0,
    .cs = {
        .gpio = GPIO_DT_SPEC_GET_BY_IDX(SPI_NODE, cs_gpios, 0),
        .delay = 0,
    },
};

uint8_t tx_data[3];
uint8_t tx_debug[3] = {0x00, 0x90, 0xFF};
uint8_t debug_cnt = 0;

struct spi_buf tx_buf = {
    .buf = tx_data,
    .len = sizeof(tx_data),
};

struct spi_buf_set tx = {
    .buffers = &tx_buf,
    .count = 1,
};

static const struct gpio_dt_spec dac_cs =
    GPIO_DT_SPEC_GET_BY_IDX(SPI_NODE, cs_gpios, 0);

void dac_debug(void)
{
    printf("SPI ready : %d\n", device_is_ready(spi));
    printf("CS ready  : %d\n", gpio_is_ready_dt(&dac_cs));
    printf("CS pin    : %d\n", dac_cs.pin);
    printf("CS flags  : 0x%x\n", dac_cs.dt_flags);
    printf("CS is GPIO     : %d\n", spi_cs_is_gpio(&spi_cfg));
}

int dac_write(uint8_t *dat) {
    int ret;

    if (debug_cnt >= sizeof(tx_debug)) debug_cnt = 0;
    tx_data[0] = dat[0];
    tx_data[1] = dat[1];
    tx_data[2] = dat[2];

    // tx_data[0] = 0x00;
    // tx_data[1] = tx_debug[debug_cnt++];
    // tx_data[2] = 0x00;

    ret = spi_write(spi, &spi_cfg, &tx);
    // printf("DAC Write ret: %d\n", ret);
    return ret;
}

uint32_t conv_16bit_count(int32_t val) {
    uint32_t res;

    if (val < min_calib) res = 0;
    if (val > max_calib) res = 65535;
    if (val >= min_calib && val <= max_calib) {
        res = (uint32_t)(65535.0f * ((double)(val - min_calib) / (double)(max_calib - min_calib)));
    }

    return res;
}
```

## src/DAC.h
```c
#ifndef DAC_H
#define DAC_H

#define PD0_NORM 0
#define PD1_NORM 0

#define SPI_CLOCK_SLOW 6000000

#define SPI_NODE DT_NODELABEL(spi3)

extern int min_calib;
extern int max_calib;

#endif // DAC_H
```

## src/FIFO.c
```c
#include <stdio.h>
#include "FIFO.h"

void queue_init(Queue *Q, int size) {
    Q->size = size;
    Q->count = 0;
    Q->back = Q->front = 0;
}

int is_queue_empty(Queue *Q) {
    return Q->count == 0;
}

int is_queue_full(Queue *Q) {
    return Q->count == Q->size;
}

void enqueue(Queue *Q, int32_t data) {
    if (is_queue_full(Q)) ; // Queue Full
    else {
        Q->back = (Q->back + 1) % Q->size;
        Q->data[Q->back] = data;
        Q->count++;
    }
}

void dequeue(Queue *Q) {
    if (is_queue_empty(Q)) ;
    else {
        Q->front = (Q->front + 1) % Q->size;
        Q->count--;
    }
}

double queue_content_sum(Queue *Q) {
    int32_t sum = 0;
    int index = Q->front;
    for (int i = 0; i < Q->count; i++) {
        index = (index + 1) % Q->size;
        sum += Q->data[index];
    }

    return sum;
}
```

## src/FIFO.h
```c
#ifndef FIFO_H
#define FIFO_H

#define FIFO_MAX       100

typedef struct {
    int size, count;
    int32_t data[FIFO_MAX];
    int front, back;
}Queue;

extern void queue_init(Queue *Q, int size);
extern int is_queue_empty(Queue *Q);
extern int is_queue_full(Queue *Q);
extern void enqueue(Queue *Q, int32_t data);
extern void dequeue(Queue *Q);
extern double queue_content_sum(Queue *Q);

#endif
```

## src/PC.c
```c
#include <stdio.h>
#include <zephyr/drivers/uart.h>
#include <zephyr/kernel.h>

#include "PC.h"
#include "FIFO.h"
#include "COMMON_SEM.h"

static const struct device *uart = DEVICE_DT_GET(UART_NODE);

K_SEM_DEFINE(uart_semaphore, 1, 1);

int32_t prev_filtered = 0;
int adc_flag;
uint8_t conf0_set = 0x50; // default (gain 1): 0x30(= 00110000) | use external amp (gain 1): 0xA1(= 10100001)
uint8_t conf1_set = 0xA8; // default == dr 600, Conversion Mode == Continuous
uint16_t now_command;
uint8_t saf_stat = SAF_DIS;
uint8_t lpf_stat = LPF_DIS;
uint8_t maf_stat = MAF_DIS;

bool edit_calib = false;
extern int file_state;
extern size_t fx_pos;
extern size_t fx_len;

uint8_t REC_CMD_BUF[10];
uint8_t REC_CMD_BUF_NEXT[10];
uint8_t *next_buf = REC_CMD_BUF_NEXT;

char FS_REC_BUF[256];
static size_t fs_rx_pos = 0;

Queue MOV_AVG_QUEUE;
Queue SAMP_AVG_QUEUE;

uint16_t read_cmd(const uint8_t *received_buff, uint32_t size) {
    if (received_buff[0] != HEADER1 ||
        received_buff[1] != HEADER2 ||
        received_buff[2] != HEADER3 ||
        received_buff[3] != HEADER4 )
        return 0x0000;
    
    if (received_buff[6] != FOOTER1 ||
        received_buff[7] != FOOTER2 ||
        received_buff[8] != FOOTER3 ||
        received_buff[9] != FOOTER4 )
        return 0x0000;

    return ((received_buff[4] & 0xFF) << 8) | received_buff[5];
}

uint8_t process_cmd(uint16_t cmd, struct k_sem *adc_loop_sem) {
    k_sem_give(adc_loop_sem);
    if (((cmd >> 8) & 0xFF) == 0xFA) { // == Filter Enable Command
        uint8_t filter_cmd = cmd & 0xFF;

        check_filter_cmd(filter_cmd);
    }

    else if (((cmd >> 8) & 0xFF) == 0xFD) { // == Filter Disable Command
        uint8_t filter_cmd = cmd & 0xFF;

        filter_disable_cmd(filter_cmd);
    }

    else if (((cmd >> 8) & 0xFF) == 0xCA) { // == Control Command
        uint8_t ctrl_cmd = cmd & 0xFF;

        check_control_cmd(ctrl_cmd, adc_loop_sem);
    }

    else if (((cmd >> 8) & 0xFF) == 0xEC) { // == Extra Command
        uint8_t ext_cmd = cmd & 0xFF;
    }
}

void check_control_cmd(uint8_t ctrl_cmd, struct k_sem *adc_loop_sem) {
    if (ctrl_cmd == 0x10) {
        k_sem_give(adc_loop_sem);
        adc_flag = 1;
    }

    else if (ctrl_cmd == 0x02)
        adc_flag = 0;

    else if ((ctrl_cmd & 0xF0) == 0x30 || (ctrl_cmd & 0xF0) == 0xA0 || (ctrl_cmd & 0xF0) == 0x50)
        conf0_set = ctrl_cmd;

    else if ((ctrl_cmd & (0x1F)) == 0x08)
        conf1_set = ctrl_cmd;
        
    else if (ctrl_cmd == 0xFE)
        edit_calib = true;
}

void filter_disable_cmd(uint8_t filter_cmd) {
    if (filter_cmd == 0xFD) {
        lpf_stat = LPF_DIS;
    }

    else if (filter_cmd == 0x2D) {
        maf_stat = MAF_DIS;
    }

    else if (filter_cmd == 0x4D) {
        saf_stat = SAF_DIS;
    }
}

void check_filter_cmd(uint8_t filter_cmd) {
    if (filter_cmd == 0x0A || filter_cmd == 0x6A || filter_cmd == 0xAA || filter_cmd == 0xCA || filter_cmd == 0xEA) {
        switch (filter_cmd)
        {
            case 0x0A:
                saf_stat = SAF_EN2;
                break;
            case 0x6A:
                saf_stat = SAF_EN4;
                break;
            case 0xAA:
                saf_stat = SAF_EN8;
                break;
            case 0xCA:
                saf_stat = SAF_EN16;
                break;
            case 0xEA:
                saf_stat = SAF_EN32;
                break;
            default:
                break;
        }
        queue_init(&SAMP_AVG_QUEUE, saf_stat);
    }

    else if (filter_cmd == 0xFA) {
        lpf_stat = LPF_EN;
    }

    else if (filter_cmd == 0x2A || filter_cmd == 0x4A || filter_cmd == 0x8A) {
        switch (filter_cmd)
        {
        case 0x2A:
            maf_stat = MAF_EN2;
            break;
        case 0x4A:
            maf_stat = MAF_EN4;
            break;
        case 0x8A:
            maf_stat = MAF_EN8;
            break;
        default:
            break;
        }
        queue_init(&MOV_AVG_QUEUE, maf_stat);
    }
}

static void uart_cb(const struct device *dev, struct uart_event *evt, void *user_data) {
    if (evt->type == UART_RX_RDY) {
        if (edit_calib) {
            char *buf = (char *)evt->data.rx.buf;

            if (fs_rx_pos + evt->data.rx.len < sizeof(FS_REC_BUF)) {
                memcpy(FS_REC_BUF + fs_rx_pos, 
                        buf + evt->data.rx.offset, 
                        evt->data.rx.len);
                fs_rx_pos += evt->data.rx.len;

                if (file_state == 5) fx_pos += evt->data.rx.len;
            }

            if (file_state == 5) {
                if (fx_len == 0) {
                    if (strncmp(FS_REC_BUF, "len: ", 5) == 0) {
                        fx_len = atoi(FS_REC_BUF + 5);
                        uart_send_pc("LEN_OK\n", strlen("LEN_OK\n"));
                        
                        memset(FS_REC_BUF, 0, sizeof(FS_REC_BUF));
                    } 
                    else {
                        fs_rx_pos = 0;
                        memset(FS_REC_BUF, 0, sizeof(FS_REC_BUF));
                        
                        static const uint8_t err_msg[] = "LEN_ERR\n";
                        uart_send_pc(err_msg, strlen(err_msg));

                        fx_pos = 0;
                        fx_len = 0;
                        file_state = 1;
                    }
                    return;
                }

                if (fx_len >= 64 || fx_len >= fx_pos) {
                    k_sem_give(&fs_sem);
                }
            }

            if (memchr(evt->data.rx.buf + evt->data.rx.offset, '\n', evt->data.rx.len)) {
                FS_REC_BUF[fs_rx_pos] = '\0';

                char *p = strchr(FS_REC_BUF, '\n');
                if (p) {
                    *p = '\0';
                }
                
                fs_rx_pos = 0;
                k_sem_give(&fs_sem);
            }
            
            return;
        }
        uint16_t cmd = read_cmd(evt->data.rx.buf + evt->data.rx.offset, evt->data.rx.len);
        now_command = cmd;

        if (cmd != 0) {
            k_sem_give(&rec_semaphore);
        }
    }
    else if (evt->type == UART_RX_BUF_REQUEST) {
        uart_rx_buf_rsp(uart, next_buf, sizeof(REC_CMD_BUF_NEXT));
    }
    else if (evt->type == UART_RX_BUF_RELEASED) {
        next_buf = evt->data.rx_buf.buf;
    }
    else if (evt->type == UART_RX_DISABLED) {
            rx_enable_pc_uart();
    }
    else if (evt->type == UART_TX_DONE || evt->type == UART_TX_ABORTED) {
        k_sem_give(&uart_semaphore);
    }
}

void rx_enable_pc_uart() {
    int ret = uart_rx_enable(uart, REC_CMD_BUF, sizeof(REC_CMD_BUF), 1000);
	if (ret != 0) {
		printf("ERROR setting rx event");
	}
}

void callback_set_pc_uart() {
    int ret = uart_callback_set(uart, uart_cb, NULL);
	if (ret != 0) {
		printf("ERROR setting callback");
	}
}

int32_t SAF(int32_t current, uint8_t samp) {
    if (is_queue_full(&SAMP_AVG_QUEUE)) { queue_init(&SAMP_AVG_QUEUE, samp); }
    enqueue(&SAMP_AVG_QUEUE, current);
    if (SAMP_AVG_QUEUE.count == samp) {
        int32_t samp_avg_filtered = queue_content_sum(&SAMP_AVG_QUEUE) / samp;
        return samp_avg_filtered;
    }
    return 0;
}

int32_t LPF(int32_t current) {
    int32_t lp_filtered = ALPHA * (double)current + (1.0-ALPHA) * (double)prev_filtered;
    prev_filtered = lp_filtered;
    return lp_filtered;
}

int32_t MAF(int32_t current) {
    if (is_queue_full(&MOV_AVG_QUEUE)) { dequeue(&MOV_AVG_QUEUE); }
    enqueue(&MOV_AVG_QUEUE, current);
    int32_t mov_avg_filtered = (double)queue_content_sum(&MOV_AVG_QUEUE) / (double)MOV_AVG_QUEUE.count;
    return mov_avg_filtered;
}

int uart_send_pc(const uint8_t *buf, uint32_t size) {
    int ret;
    ret = uart_tx(uart, buf, size, SYS_FOREVER_US);
    return ret;
}

int uart_abort_tx() {
    int ret;
    ret = uart_tx_abort(uart);
    return ret;
}

void add_crc(uint8_t *dst, uint8_t *src, size_t src_size) {
	uint8_t crc = 0x00;
	uint8_t poly = 0x07;

	for (size_t i =0; i < src_size; i++) {
		crc ^= src[i];

		for (int bit =0; bit < 8; bit++) {
			if (crc & 0x80) crc = (crc << 1) ^ poly;
			else crc = (uint8_t)(crc << 1);
		}
	}

	memcpy(dst + 5 + src_size, &crc, 1);
}

int filter_adjust(uint8_t *sendbuff, uint32_t sendbuff_size, uint8_t *filterbuff) {
    int ret;
    uint32_t data_length = sendbuff_size - 10;
    
    k_sem_take(&uart_semaphore, K_FOREVER);

    sendbuff[0] = HEADER1;
    sendbuff[1] = HEADER2;
    sendbuff[2] = HEADER3;
    sendbuff[3] = HEADER4;

    sendbuff[4] = data_length;

    for (int i= 5; i< sendbuff_size - 5; i++) {
        sendbuff[i] = filterbuff[i - 5];
    }
    add_crc(sendbuff, filterbuff, data_length);

    sendbuff[sendbuff_size - 4]  = FOOTER1;
    sendbuff[sendbuff_size - 3]  = FOOTER2;
    sendbuff[sendbuff_size - 2]  = FOOTER3;
    sendbuff[sendbuff_size - 1]  = FOOTER4;

	ret = uart_send_pc(sendbuff, sendbuff_size);
    if (ret != 0) {
        k_sem_give(&uart_semaphore);
    }
    ret = hydro_notify_data(sendbuff, sendbuff_size);
	return ret;
}

// TODO:: Add Calibration Logic
```
